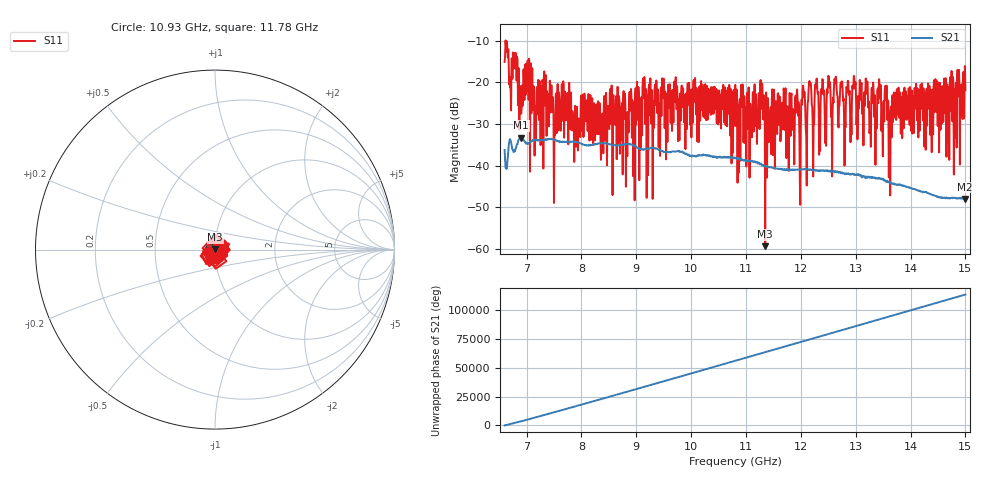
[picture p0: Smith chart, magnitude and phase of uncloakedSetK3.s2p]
!Keysight Technologies,N5235B,MY61252044,A.15.00.15
!Date: Saturday, January 21, 2023 00:01:45
!Correction: S11(Off)
!S21(Off)
!S12(Off)
!S22(Off)
!S2P File: Measurements: S11, S21, S12, S22:
# Hz S  RI  R 50
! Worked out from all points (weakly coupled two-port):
!   1000 points, 6.6 GHz to 15 GHz, reference 50 ohm
!   highest |S21| = -33.22 dB at 6.903 GHz (marker M1); lowest = -48.0 dB at 14.99 GHz (marker M2)
!   lowest |S11| = -59.3 dB at 11.35 GHz (marker M3), VSWR 1.00, Z = 50 + j0.101 ohm
!   |S11| at or under -10 dB: start of sweep to 6.61662 GHz; 6.617 GHz to end of sweep
!   S12 and S22 are empty: the file has one direction only
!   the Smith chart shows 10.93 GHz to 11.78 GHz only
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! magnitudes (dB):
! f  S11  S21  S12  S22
! 6.6 GHz  -15.1  -36.2  -  -
! 6.701 GHz  -21.2  -33.6  -  -
! 6.793 GHz  -16.6  -36.3  -  -
! 6.903 GHz  -27.5  -33.2  -  -
! 7.012 GHz  -22.0  -34.6  -  -
! 7.155 GHz  -25.7  -33.8  -  -
! 8.004 GHz  -28.3  -34.7  -  -
! 8.357 GHz  -38.6  -34.6  -  -
! 9.4 GHz  -23.1  -36.1  -  -
! 10.8 GHz  -20.6  -38.2  -  -
! 11.3 GHz  -21.1  -39.9  -  -
! 11.35 GHz  -59.3  -40.0  -  -
! 11.93 GHz  -21.7  -40.9  -  -
! 11.98 GHz  -43.3  -40.8  -  -
! 12.17 GHz  -20.5  -40.9  -  -
! 12.2 GHz  -25.5  -40.9  -  -
! 12.97 GHz  -18.6  -42.0  -  -
! 13.55 GHz  -24.2  -43.8  -  -
! 13.6 GHz  -42.8  -43.9  -  -
! 13.74 GHz  -29.0  -44.5  -  -
! 14.99 GHz  -16.0  -48.0  -  -
! 15 GHz  -21.9  -47.9  -  -
